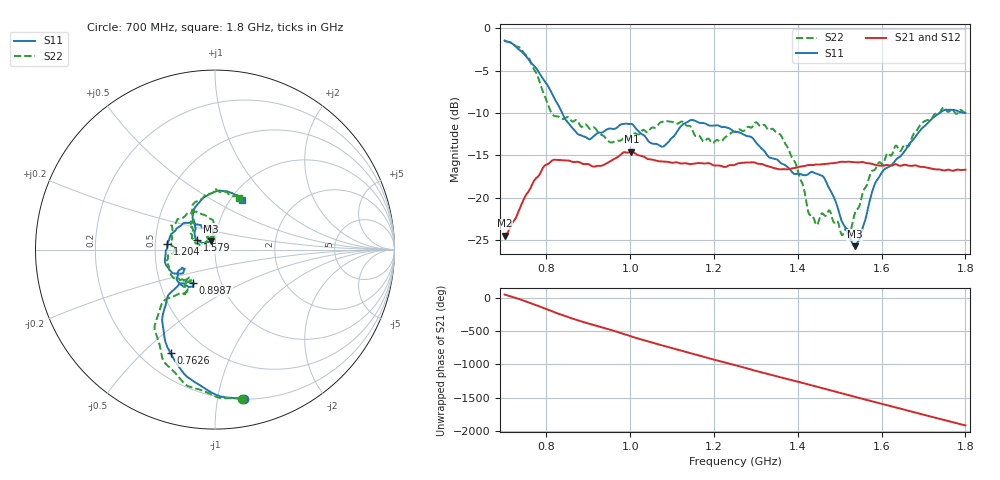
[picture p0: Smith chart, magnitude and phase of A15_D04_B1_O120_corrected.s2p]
! Created with skrf 1.9.0 (http://scikit-rf.org).
# Hz S RI R 50.0
!freq ReS11 ImS11 ReS21 ImS21 ReS12 ImS12 ReS22 ImS22
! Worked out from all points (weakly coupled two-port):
!   1601 points, 700 MHz to 1.8 GHz, reference 50 ohm
!   highest |S21| = -14.57 dB at 1.002 GHz (marker M1); lowest = -24.5 dB at 700.7 MHz (marker M2)
!   lowest |S11| = -25.7 dB at 1.535 GHz (marker M3), VSWR 1.11, Z = 47.5 + j4.37 ohm
!   |S11| at or under -10 dB: 837.4 MHz to 1.738 GHz (901 MHz wide, 70 % of centre)
!   |S22| runs from -24.4 to -1.5 dB; largest |S21 - S12| = 0.0034
!   S11 on the Smith chart (normalised r, x): 700 MHz: 0.20, -1.19; 762.6 MHz: 0.32, -0.61; 898.7 MHz: 0.73, -0.29; 1.204 GHz: 0.58, +0.04; 1.579 GHz: 0.82, +0.08; 1.8 GHz: 1.13, +0.70
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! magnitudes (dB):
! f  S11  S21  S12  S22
! 700 MHz  -1.4  -24.5  -24.2  -1.5
! 700.7 MHz  -1.5  -24.5  -24.2  -1.5
! 762.6 MHz  -4.0  -18.8  -18.8  -4.0
! 814.1 MHz  -7.9  -15.6  -15.6  -10.2
! 883.6 MHz  -12.7  -15.9  -15.8  -11.6
! 898.7 MHz  -13.0  -16.0  -16.1  -11.6
! 953 MHz  -11.8  -15.7  -15.7  -13.5
! 1.002 GHz  -11.3  -14.6  -14.7  -12.9
! 1.067 GHz  -13.8  -15.7  -15.6  -11.3
! 1.143 GHz  -10.9  -16.0  -16.0  -11.6
! 1.204 GHz  -11.5  -16.2  -16.2  -13.3
! 1.25 GHz  -12.2  -16.1  -16.0  -12.2
! 1.358 GHz  -15.9  -16.7  -16.6  -12.5
! 1.395 GHz  -17.2  -16.5  -16.5  -16.0
! 1.434 GHz  -16.9  -16.2  -16.1  -22.1
! 1.464 GHz  -17.7  -16.0  -16.0  -22.1
! 1.506 GHz  -23.0  -15.8  -15.8  -24.4
! 1.535 GHz  -25.7  -15.8  -15.8  -22.0
! 1.579 GHz  -19.1  -16.0  -16.0  -16.8
! 1.617 GHz  -16.4  -16.2  -16.1  -14.8
! 1.74 GHz  -9.9  -16.7  -16.7  -9.9
! 1.8 GHz  -10.0  -16.7  -16.7  -10.0
